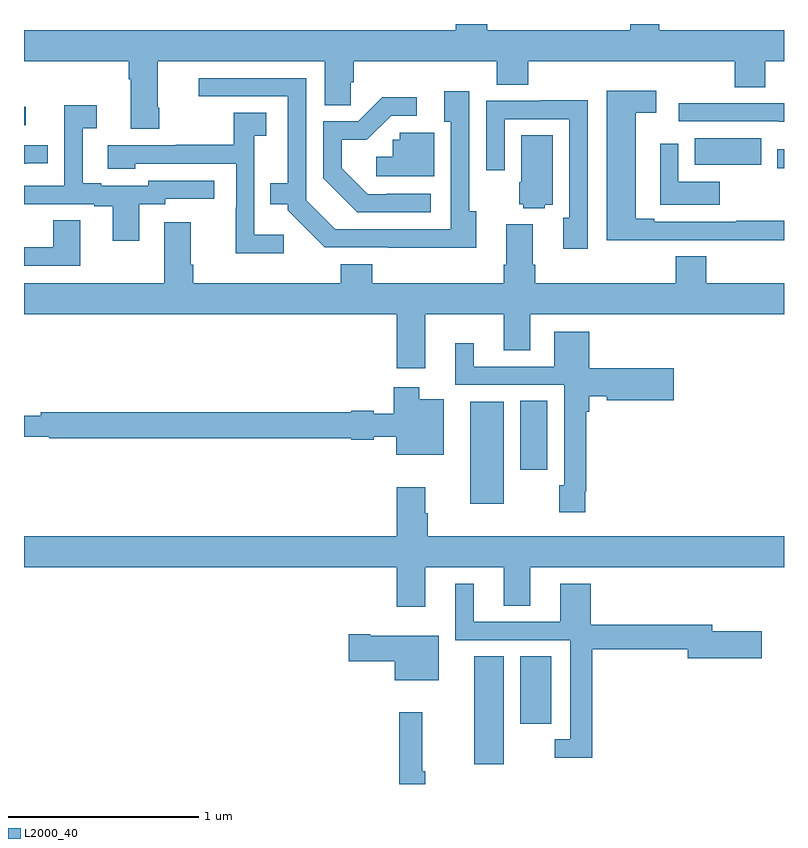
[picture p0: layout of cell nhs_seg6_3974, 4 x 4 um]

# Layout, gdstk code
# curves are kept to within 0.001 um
import gdstk
lib = gdstk.Library(unit=1e-6, precision=1e-09)
def R(c, l, rs):  # rectangles x0, y0, x1, y1
    for r in rs: c.add(gdstk.rectangle(r[:2], r[2:], *l))
def P(c, l, *ps):  # polygons
    for p in ps: c.add(gdstk.Polygon(p, *l))
L2000_40 = (2000, 40)

nhs_seg6_3974 = lib.new_cell('nhs_seg6_3974')
R(nhs_seg6_3974, L2000_40, [(347.369,975.603,347.524,976.172), (347.612,975.816,347.776,976.172), (347.348,976.976,347.524,977.512), (347.612,977.154,347.755,977.516), (348.964,978.742,349,978.841), (348.529,978.758,348.879,978.898), (345,978.966,345.01,979.065)])
P(nhs_seg6_3974, L2000_40, [(345.711,979.06),(345.703,979.06),(345.703,979.304),(346.583,979.304),(346.583,979.072),(346.721,979.072),(346.721,979.194),(346.736,979.194),(346.736,979.304),(347.489,979.304),(347.489,979.18),(347.654,979.18),(347.654,979.304),(348.742,979.304),(348.742,979.168),(348.902,979.168),(348.902,979.304),(349,979.304),(349,979.468),(348.343,979.468),(348.343,979.5),(348.191,979.5),(348.191,979.468),(347.438,979.468),(347.438,979.5),(347.273,979.5),(347.273,979.468),(345,979.468),(345,979.304),(345.551,979.304),(345.551,979.208),(345.563,979.208),(345.563,978.948),(345.711,978.948)],
  [(347.38,978.514),(347.343,978.514),(347.343,979.147),(347.213,979.147),(347.213,978.986),(347.247,978.986),(347.247,978.42),(346.638,978.42),(346.485,978.573),(346.485,979.215),(345.921,979.215),(345.921,979.119),(346.388,979.119),(346.388,978.661),(346.297,978.661),(346.297,978.551),(346.389,978.551),(346.389,978.519),(346.584,978.324),(347.38,978.323)],
  [(348.316,978.363),(348.679,978.363),(348.679,978.361),(349,978.361),(349,978.464),(348.748,978.464),(348.748,978.459),(348.316,978.459),(348.316,978.475),(348.22,978.475),(348.22,979.033),(348.328,979.033),(348.328,979.15),(348.068,979.15),(348.068,978.361),(348.316,978.361)],
  [(347.14,978.606),(346.909,978.606),(346.909,978.603),(346.809,978.603),(346.672,978.74),(346.672,978.89),(346.805,978.89),(346.932,979.017),(347.068,979.017),(347.068,979.115),(346.886,979.115),(346.758,978.987),(346.575,978.987),(346.575,978.689),(346.754,978.51),(347.14,978.51)],
  [(347.967,979.099),(347.717,979.099),(347.717,979.095),(347.433,979.095),(347.433,978.729),(347.529,978.729),(347.529,978.999),(347.871,978.999),(347.871,978.479),(347.837,978.479),(347.837,978.318),(347.967,978.318)],
  [(349,979.083),(348.447,979.083),(348.447,978.987),(348.972,978.987),(348.972,978.986),(349,978.986)],
  [(345.607,978.552),(345.744,978.552),(345.744,978.579),(346,978.579),(346,978.675),(345.654,978.675),(345.654,978.648),(345.406,978.648),(345.406,978.661),(345.31,978.661),(345.31,978.952),(345.382,978.952),(345.382,979.072),(345.213,979.072),(345.213,978.648),(345,978.648),(345,978.552),(345.371,978.552),(345.371,978.54),(345.467,978.54),(345.467,978.36),(345.607,978.36)],
  [(346.366,978.391),(346.212,978.391),(346.212,978.913),(346.276,978.913),(346.276,979.034),(346.104,979.034),(346.104,978.864),(345.799,978.864),(345.799,978.861),(345.441,978.861),(345.441,978.737),(345.585,978.737),(345.585,978.765),(346.116,978.765),(346.116,978.533),(346.114,978.533),(346.114,978.293),(346.366,978.293)],
  [(347.158,978.927),(346.977,978.927),(346.977,978.891),(346.941,978.891),(346.941,978.802),(346.854,978.802),(346.854,978.699),(347.158,978.699)],
  [(347.742,978.548),(347.782,978.548),(347.782,978.914),(347.618,978.914),(347.618,978.666),(347.606,978.666),(347.606,978.552),(347.628,978.552),(347.628,978.53),(347.742,978.53)],
  [(348.661,978.67),(348.444,978.67),(348.444,978.871),(348.348,978.871),(348.348,978.652),(348.349,978.652),(348.349,978.549),(348.661,978.549)],
  [(345.011,978.766),(345.124,978.766),(345.124,978.861),(345,978.861),(345,978.765),(345.011,978.765)],
  [(345.295,978.467),(345.155,978.467),(345.155,978.324),(345,978.324),(345,978.228),(345.295,978.228)],
  [(347.113,977.972),(347.525,977.972),(347.525,977.782),(347.665,977.782),(347.665,977.972),(349,977.972),(349,978.136),(348.591,978.136),(348.591,978.278),(348.431,978.278),(348.431,978.136),(347.69,978.136),(347.69,978.232),(347.677,978.232),(347.677,978.445),(347.537,978.445),(347.537,978.232),(347.525,978.232),(347.525,978.136),(346.832,978.136),(346.832,978.235),(346.667,978.235),(346.667,978.136),(345.89,978.136),(345.89,978.232),(345.877,978.232),(345.877,978.457),(345.737,978.457),(345.737,978.136),(345,978.136),(345,977.972),(346.961,977.972),(346.961,977.688),(347.113,977.688)],
  [(347.953,977.041),(347.96,977.041),(347.96,977.459),(347.974,977.459),(347.974,977.542),(348.068,977.542),(348.068,977.519),(348.421,977.519),(348.421,977.689),(347.974,977.689),(347.974,977.881),(347.792,977.881),(347.792,977.697),(347.368,977.697),(347.368,977.821),(347.27,977.821),(347.27,977.601),(347.844,977.601),(347.844,977.073),(347.818,977.073),(347.818,976.929),(347.953,976.929)],
  [(347.209,977.524),(347.08,977.524),(347.08,977.587),(346.946,977.587),(346.946,977.449),(346.842,977.449),(346.842,977.464),(346.722,977.464),(346.722,977.456),(345.088,977.456),(345.088,977.437),(345,977.437),(345,977.328),(345.132,977.328),(345.132,977.32),(346.722,977.32),(346.722,977.312),(346.842,977.312),(346.842,977.327),(346.958,977.327),(346.958,977.234),(347.209,977.234)],
  [(347.113,976.64),(347.525,976.64),(347.525,976.438),(347.665,976.438),(347.665,976.64),(349,976.64),(349,976.804),(347.126,976.804),(347.126,976.925),(347.113,976.925),(347.113,977.062),(346.961,977.062),(346.961,976.804),(345,976.804),(345,976.64),(346.961,976.64),(346.961,976.434),(347.113,976.434)],
  [(347.99,976.21),(348.494,976.21),(348.494,976.163),(348.883,976.163),(348.883,976.305),(348.622,976.305),(348.622,976.339),(347.984,976.339),(347.984,976.555),(347.822,976.555),(347.822,976.353),(347.368,976.353),(347.368,976.555),(347.27,976.555),(347.27,976.257),(347.874,976.257),(347.874,975.735),(347.793,975.735),(347.793,975.638),(347.99,975.638)],
  [(347.182,976.279),(346.822,976.279),(346.822,976.287),(346.71,976.287),(346.71,976.145),(346.952,976.145),(346.952,976.046),(347.182,976.046)],
  [(347.111,975.568),(347.096,975.568),(347.096,975.877),(346.975,975.877),(346.975,975.5),(347.111,975.5)])

lib.write_gds('nhs_seg6_3974.gds')
